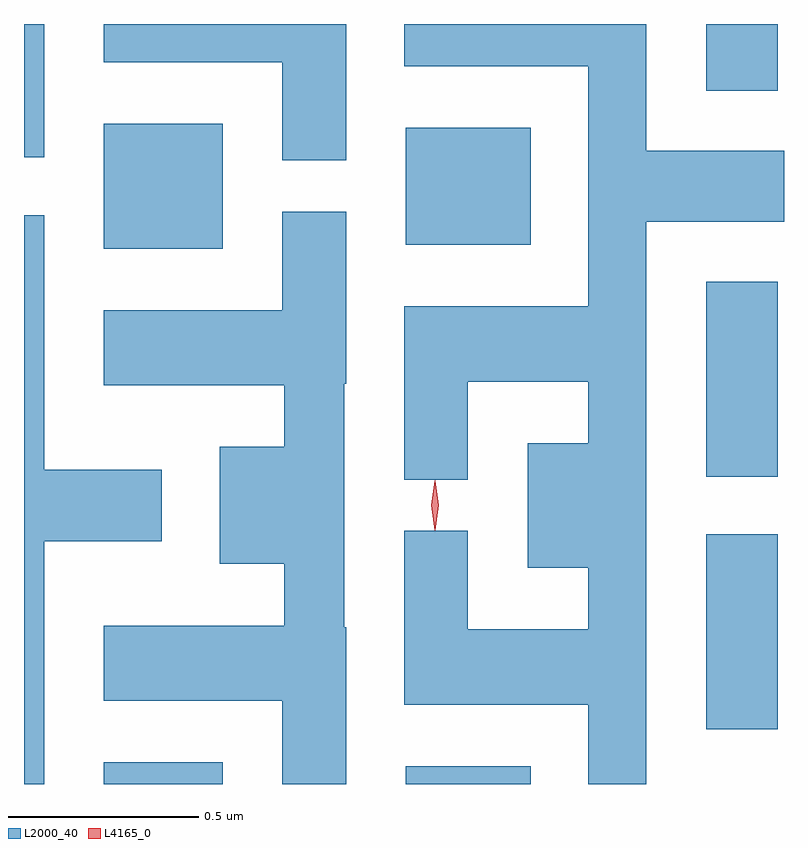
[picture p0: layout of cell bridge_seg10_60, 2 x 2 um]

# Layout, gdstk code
import gdstk
lib = gdstk.Library(unit=1e-6, precision=1e-09)
def R(c, l, rs):  # rectangles x0, y0, x1, y1
    for r in rs: c.add(gdstk.rectangle(r[:2], r[2:], *l))
def P(c, l, *ps):  # polygons
    for p in ps: c.add(gdstk.Polygon(p, *l))
L2000_40 = (2000, 40)
L4165_0 = (4165, 0)

bridge_seg10_60 = lib.new_cell('bridge_seg10_60')
R(bridge_seg10_60, L2000_40, [(1624.131,2163.397,1624.444,2163.454), (1624.926,2163.397,1625.254,2163.444), (1625.716,2163.541,1625.904,2164.054), (1625.716,2164.206,1625.904,2164.719), (1624.131,2164.806,1624.444,2165.134), (1624.926,2164.816,1625.254,2165.124), (1623.921,2165.046,1623.974,2165.397), (1625.716,2165.221,1625.904,2165.397)])
P(bridge_seg10_60, L2000_40, [(1625.559,2164.876),(1625.921,2164.876),(1625.921,2165.064),(1625.559,2165.064),(1625.559,2165.397),(1624.921,2165.397),(1624.921,2165.286),(1625.406,2165.286),(1625.406,2164.654),(1624.921,2164.654),(1624.921,2164.198),(1625.089,2164.198),(1625.089,2164.456),(1625.406,2164.456),(1625.406,2164.294),(1625.246,2164.294),(1625.246,2163.966),(1625.406,2163.966),(1625.406,2163.804),(1625.089,2163.804),(1625.089,2164.063),(1624.921,2164.063),(1624.921,2163.606),(1625.406,2163.606),(1625.406,2163.397),(1625.559,2163.397)],
  [(1624.769,2165.397),(1624.131,2165.397),(1624.131,2165.296),(1624.601,2165.296),(1624.601,2165.038),(1624.769,2165.038)],
  [(1624.769,2163.81),(1624.764,2163.81),(1624.764,2164.45),(1624.769,2164.45),(1624.769,2164.903),(1624.601,2164.903),(1624.601,2164.644),(1624.131,2164.644),(1624.131,2164.446),(1624.606,2164.446),(1624.606,2164.284),(1624.436,2164.284),(1624.436,2163.976),(1624.606,2163.976),(1624.606,2163.814),(1624.131,2163.814),(1624.131,2163.616),(1624.601,2163.616),(1624.601,2163.397),(1624.769,2163.397)],
  [(1623.974,2164.036),(1624.284,2164.036),(1624.284,2164.224),(1623.974,2164.224),(1623.974,2164.894),(1623.921,2164.894),(1623.921,2163.397),(1623.974,2163.397)])
P(bridge_seg10_60, L4165_0, [(1625.003,2164.064),(1625.002,2164.065),(1624.993,2164.13),(1625.002,2164.195),(1625.003,2164.196),(1625.003,2164.195),(1625.013,2164.13),(1625.003,2164.065)])

lib.write_gds('bridge_seg10_60.gds')
